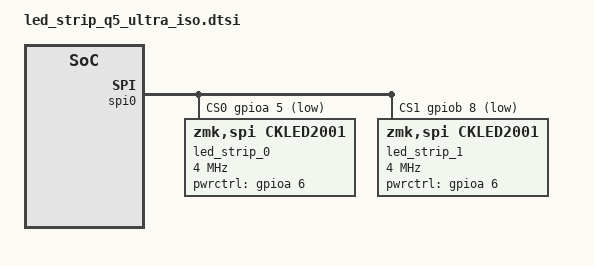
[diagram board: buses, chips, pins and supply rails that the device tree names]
#include <dt-bindings/zmk/ckled2001.h>

/ {
    chosen {
        
        zmk,underglow = &led_strip;
    };
    led_strip: led-strip-composite {
        compatible = "zmk,led-strip-composite";
        chain-length = <102>;
        strip0 {
            led-strip = <&led_strip_0>;
        };
        strip1 {
            led-strip = <&led_strip_1>;
        };
    };

    

};
// dma is optional
&dma0 {
    status = "okay";
};
 
&spi0 {
    status = "okay";
    pinctrl-0 = <&spi0_default>;
    pinctrl-1 = <&spi0_sleep>;
    pinctrl-names = "default","sleep";
    cs-gpios=
        <&gpioa  5 GPIO_ACTIVE_LOW>,  //cs0 p0_5
        <&gpiob  8 GPIO_ACTIVE_LOW>;  //cs1 p4_3
        
    // dma is optional
	dmas = <&dma0 6 17 0xa>, <&dma0 5 16 0x10021>;
	dma-names = "rx", "tx";

        led_strip_0: ckled2001@0 {
            compatible = "zmk,spi,ckled2001";
            reg = <0>;
            spi-max-frequency = <4000000>;
            chain-length = <54>; //17 +19 +18
            map = <
            /* ROW 0 */
            /*   R        G        B */
            CK(9, 0) CK(11, 0) CK(10, 0)
            // CK(9, 1) CK(11, 1) CK(10, 1)
            CK(9, 2) CK(11, 2) CK(10, 2)
            CK(9, 3) CK(11, 3) CK(10, 3)
            CK(9, 4) CK(11, 4) CK(10, 4)
            CK(9, 5) CK(11, 5) CK(10, 5)
            CK(9, 6) CK(11, 6) CK(10, 6)
            CK(9, 7) CK(11, 7) CK(10, 7)
            CK(9, 8) CK(11, 8) CK(10, 8)
            CK(9, 9) CK(11, 9) CK(10, 9)
            CK(9,10) CK(11,10) CK(10,10)
            CK(9,11) CK(11,11) CK(10,11)
            CK(9,12) CK(11,12) CK(10,12)
            CK(9,13) CK(11,13) CK(10,13)
            CK(9,14) CK(11,14) CK(10,14)
            CK(9,15) CK(11,15) CK(10,15)

            CK(0, 15) CK(2, 15) CK(1, 15)
            CK(0, 14) CK(2, 14) CK(1, 14)
            
            /* ROW 1 */
            /*   R        G        B */
            CK(6,0)  CK(8,0)  CK(7,0)
            CK(6,1)  CK(8,1)  CK(7,1)
            CK(6,2)  CK(8,2)  CK(7,2)
            CK(6,3)  CK(8,3)  CK(7,3)
            CK(6,4)  CK(8,4)  CK(7,4)
            CK(6,5)  CK(8,5)  CK(7,5)
            CK(6,6)  CK(8,6)  CK(7,6)
            CK(6,7)  CK(8,7)  CK(7,7)
            CK(6,8)  CK(8,8)  CK(7,8)
            CK(6,9)  CK(8,9)  CK(7,9)
            CK(6,10) CK(8,10) CK(7,10)
            CK(6,11) CK(8,11) CK(7,11)
            CK(6,12) CK(8,12) CK(7,12)
            CK(6,13) CK(8,13) CK(7,13)
            CK(6,14) CK(8,14) CK(7,14)
            CK(6,15) CK(8,15) CK(7,15)

            CK(0,13) CK(2,13) CK(1,13)
            CK(0,12) CK(2,12) CK(1,12)
            CK(0,11) CK(2,11) CK(1,11)

            /* ROW 2 */
            /*   R        G        B */
            CK(3, 0) CK(5, 0) CK(4, 0)
            CK(3, 1) CK(5, 1) CK(4, 1)
            CK(3, 2) CK(5, 2) CK(4, 2)
            CK(3, 3) CK(5, 3) CK(4, 3)
            CK(3, 4) CK(5, 4) CK(4, 4)
            CK(3, 5) CK(5, 5) CK(4, 5)
            CK(3, 6) CK(5, 6) CK(4, 6)
            CK(3, 7) CK(5, 7) CK(4, 7)
            CK(3, 8) CK(5, 8) CK(4, 8)
            CK(3, 9) CK(5, 9) CK(4, 9)
            CK(3,10) CK(5,10) CK(4,10)
            CK(3,11) CK(5,11) CK(4,11)
            CK(3,12) CK(5,12) CK(4,12)
            CK(3,13) CK(5,13) CK(4,13)
            CK(3,14) CK(5,14) CK(4,14)
            CK(3,15) CK(5,15) CK(4,15)

            CK(0,10) CK(2,10) CK(1,10)
            CK(0, 9) CK(2, 9) CK(1, 9)

            >;
            current_tune =
            // <0x60 0xC4 0xC4 0x60 0xC4 0xC4 0x60 0xC4 0xC4 0x60 0xC4 0xC4>;
            //    <0x25 0x4c 0x4c 0x25 0x4c 0x4c 0x25 0x4c 0x4c 0x25 0x4c 0x4c >;
            <0x35 0x35 0x35 0x35 0x35 0x35 0x35 0x35 0x35 0x35 0x35 0x35 >;
            pwrctrl-gpios =<&gpioa 6 GPIO_ACTIVE_HIGH>;  //P0_6
            pinctrl-0 = <&ckled_default>;
            pinctrl-1 = <&ckled_sleep>;
            pinctrl-names = "default","sleep";
    };
    led_strip_1: ckled2001@1 {
            compatible = "zmk,spi,ckled2001";
            reg = <1>;
            spi-max-frequency = <4000000>;
            chain-length = <48>;//18 +17 +12
            map = <
            /* ROW 3 */
            /*   R        G        B */
            CK(9,15) CK(11,15) CK(10,15)
            CK(9,14) CK(11,14) CK(10,14)
            CK(9,13) CK(11,13) CK(10,13)
            CK(9,12) CK(11,12) CK(10,12) 
            CK(9,11) CK(11,11) CK(10,11)
            CK(9,10) CK(11,10) CK(10,10)
            CK(9, 9) CK(11, 9) CK(10, 9)
            CK(9, 8) CK(11, 8) CK(10, 8)
            CK(9, 7) CK(11, 7) CK(10, 7)
            CK(9, 6) CK(11, 6) CK(10, 6)
            CK(9, 5) CK(11, 5) CK(10, 5)
            CK(9, 4) CK(11, 4) CK(10, 4)
            CK(9, 3) CK(11, 3) CK(10, 3)
            // CK(9, 2) CK(11, 2) CK(10, 2)
            CK(9, 1) CK(11, 1) CK(10, 1)
            CK(9, 0) CK(11, 0) CK(10, 0)

            CK(0, 4) CK(2, 4) CK(1, 4)
            CK(0, 5) CK(2, 5) CK(1, 5)
            CK(0, 6) CK(2, 6) CK(1, 6)
            /* ROW 4 */
            /*   R        G        B */
            CK(6,15) CK(8,15) CK(7,15)
            CK(6,14) CK(8,14) CK(7,14)
            CK(6,13) CK(8,13) CK(7,13)
            CK(6,12) CK(8,12) CK(7,12)
            CK(6,11) CK(8,11) CK(7,11)
            CK(6,10) CK(8,10) CK(7,10)
            CK(6, 9) CK(8, 9) CK(7, 9)
            CK(6, 8) CK(8, 8) CK(7, 8)
            CK(6, 7) CK(8, 7) CK(7, 7)            
            CK(6, 6) CK(8, 6) CK(7, 6)
            CK(6, 5) CK(8, 5) CK(7, 5)
            CK(6, 4) CK(8, 4) CK(7, 4)
            CK(6, 3) CK(8, 3) CK(7, 3)
            CK(6, 2) CK(8, 2) CK(7, 2)
            // CK(6, 1) CK(8, 1) CK(7, 1)
            CK(6, 0) CK(8, 0) CK(7, 0)

            CK(0, 1) CK(2, 1) CK(1, 1)
            CK(0, 2) CK(2, 2) CK(1, 2)
            CK(0, 3) CK(2, 3) CK(1, 3)
            
            /* ROW 5 */
            /*   R        G        B */
            CK(3,15) CK(5,15) CK(4,15)
            CK(3,14) CK(5,14) CK(4,14)
            CK(3,13) CK(5,13) CK(4,13)
            // CK(3,12) CK(5,12) CK(4,12)
            // CK(3,11) CK(5,11) CK(4,11)
            // CK(3,10) CK(5,10) CK(4,10)
            CK(3, 9) CK(5, 9) CK(4, 9)
            // CK(3, 8) CK(5, 8) CK(4, 8)
            // CK(3, 7) CK(5, 7) CK(4, 7)            
            CK(3, 6) CK(5, 6) CK(4, 6)
            CK(3, 5) CK(5, 5) CK(4, 5)
            CK(3, 4) CK(5, 4) CK(4, 4)
            CK(3, 3) CK(5, 3) CK(4, 3)
            CK(3, 2) CK(5, 2) CK(4, 2)
            CK(3, 1) CK(5, 1) CK(4, 1)
            CK(3, 0) CK(5, 0) CK(4, 0)

            CK(0, 0) CK(2, 0) CK(1, 0)
            >;
            current_tune =
            // <0x60 0xC4 0xC4 0x60 0xC4 0xC4 0x60 0xC4 0xC4 0x60 0xC4 0xC4>;
            // <0x25 0x4c 0x4c 0x25 0x4c 0x4c 0x25 0x4c 0x4c 0x25 0x4c 0x4c >;
            <0x35 0x35 0x35 0x35 0x35 0x35 0x35 0x35 0x35 0x35 0x35 0x35 >;
            pwrctrl-gpios =<&gpioa  6 (GPIO_ACTIVE_HIGH|GPIO_PULL_UP)>;//P0_6
            pinctrl-0 = <&ckled_default>;
            pinctrl-1 = <&ckled_sleep>;
            pinctrl-names = "default","sleep";
    };

};

&pinctrl {


    spi0_default:spi0_default{
        group1 {
            psels = <RTL87X2G_PSEL(SPI0_CLK_MASTER, P4_0, DIR_OUT, DRV_HIGH, PULL_UP)>,
            <RTL87X2G_PSEL(SPI0_MO_MASTER, P4_2, DIR_OUT, DRV_HIGH, PULL_UP)>,
            <RTL87X2G_PSEL(SPI0_CSN_0_MASTER, P0_5, DIR_OUT, DRV_HIGH, PULL_UP)>,
            <RTL87X2G_PSEL(SPI0_CSN_1_MASTER, P4_3, DIR_OUT, DRV_HIGH, PULL_UP)>;
        };
    };
    spi0_sleep:spi0_sleep{
        group1 {
            psels = <RTL87X2G_PSEL(SW_MODE, P4_0, DIR_IN, DRV_LOW, PULL_DOWN)>,
            <RTL87X2G_PSEL(SW_MODE, P4_2, DIR_IN, DRV_LOW, PULL_DOWN)>,
            <RTL87X2G_PSEL(SW_MODE, P0_5, DIR_IN, DRV_LOW, PULL_DOWN)>,
            <RTL87X2G_PSEL(SW_MODE, P4_3, DIR_IN, DRV_LOW, PULL_DOWN)>;
        };
    };
    ckled_default:ckled_default {
        group1 {
            psels =
            <RTL87X2G_PSEL(DWGPIO, P0_6, DIR_OUT, DRV_HIGH, PULL_UP)>;
            
        };
    };
    ckled_sleep:ckled_sleep {
        group1 {
            psels =
            <RTL87X2G_PSEL(SW_MODE, P0_6, DIR_IN, DRV_LOW, PULL_DOWN)>;
            
        };
    };
};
